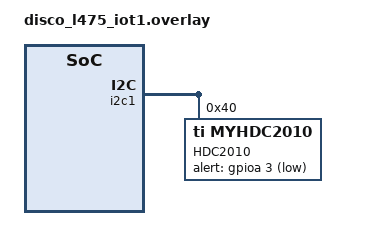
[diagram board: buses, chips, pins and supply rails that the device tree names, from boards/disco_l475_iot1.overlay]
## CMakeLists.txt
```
# SPDX-License-Identifier: Apache-2.0

cmake_minimum_required(VERSION 3.20.0)
find_package(Zephyr REQUIRED HINTS $ENV{ZEPHYR_BASE})
project(HDC2010)

FILE(GLOB app_sources src/*.c)
target_sources(app PRIVATE ${app_sources})
target_include_directories(app PRIVATE ${CMAKE_CURRENT_SOURCE_DIR}/include)
```

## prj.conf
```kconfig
# Logging and Console
CONFIG_LOG=y
CONFIG_PRINTK=y
CONFIG_UART_CONSOLE=y
CONFIG_SERIAL=y
CONFIG_CONSOLE=y
CONFIG_STDOUT_CONSOLE=y

# Enable I2C and Sensor Support
CONFIG_I2C=y
CONFIG_GPIO=y
CONFIG_SENSOR=y
CONFIG_HDC2010=y
CONFIG_HDC2010_TRIGGER=y
CONFIG_SENSOR_INIT_PRIORITY=91

# Shell Support (for I2C shell commands)
CONFIG_SHELL=y
CONFIG_I2C_SHELL=y
CONFIG_SHELL_BACKEND_SERIAL=y

# Floating point formatting
CONFIG_CBPRINTF_FP_SUPPORT=y

# Heap memory 
CONFIG_HEAP_MEM_POOL_SIZE=1024
CONFIG_PICOLIBC=y
```

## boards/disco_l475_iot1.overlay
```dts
&i2c1 {
    status = "okay";

    hdc2010@40 {
        compatible = "ti,myhdc2010";
        status = "okay";
        alert-gpios = <&gpioa 3 (GPIO_PULL_UP | GPIO_ACTIVE_LOW)>;
        reg = <0x40>;
        label = "HDC2010";
    };
};
```

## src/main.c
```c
#include <zephyr/kernel.h>
#include <zephyr/logging/log.h>
#include <stdlib.h>       // for k_malloc, k_free
#include <string.h>
#include "main.h"

LOG_MODULE_REGISTER(hdc2010_sample, LOG_LEVEL_DBG);

#define THREAD_STACK_SIZE           2048U
#define DATA_PRINT_THREAD_PRIORITY  4
#define DATA_FETCH_THREAD_PRIORITY  5

// Get device node for HDC2010 sensor (compatible "ti,hdc2010")
#define HDC2010_NODE    DT_COMPAT_GET_ANY_STATUS_OKAY(ti_myhdc2010)
const struct device *dev = DEVICE_DT_GET(HDC2010_NODE);

// FIFO for sensor readings (queue holds pointers to dynamically allocated readings)
K_FIFO_DEFINE(my_fifo);

/* Workqueue related declarations */
K_THREAD_STACK_DEFINE(my_stack_area, THREAD_STACK_SIZE);
static struct k_work_q my_workq;
static struct k_work my_work;

/**
 * @brief Initialize HDC2010 device, check if ready
 * 
 * @param dev Pointer to device struct
 * 
 * @return 0 if success, error code otherwise
 */
int init_main_hdc2010(const struct device *dev)
{
    if (!device_is_ready(dev)) {
        LOG_ERR("HDC2010 device not ready");
        return -ENODEV;
    }
    return 0;
}

/**
 * @brief Fetch sensor data and put reading into FIFO
 * 
 * @param dev Device pointer
 * 
 * @param reading Pointer to allocated reading struct to store results
 */
void get_sensor_value(const struct device *dev, struct hdc2010_reading *reading)
{
    int ret;

    ret = sensor_sample_fetch(dev);
    if (ret < 0) {
        LOG_ERR("Failed to fetch sample from HDC2010");
        return;
    }

    ret = sensor_channel_get(dev, SENSOR_CHAN_AMBIENT_TEMP, &reading->temperature);
    if (ret < 0) {
        LOG_ERR("Failed to get temperature from HDC2010");
        return;
    }

    ret = sensor_channel_get(dev, SENSOR_CHAN_HUMIDITY, &reading->humidity);
    if (ret < 0) {
        LOG_ERR("Failed to get humidity from HDC2010");
        return;
    }
}

/**
 * @brief Work handler function to be scheduled on workqueue.
 *        Reads sensor data and puts it into FIFO for processing.
 * 
 * @param work Pointer to k_work struct (unused here)
 */
void hdc2010_data_acquired(struct k_work *work)
{
    // Allocate memory for reading
    struct hdc2010_reading *reading = k_malloc(sizeof(*reading));
    if (reading == NULL) {
        LOG_ERR("Failed to allocate memory for sensor reading");
        return;
    }

    // Get sensor data into allocated struct
    get_sensor_value(dev, reading);

    // Put pointer into FIFO for processing in print thread
    k_fifo_put(&my_fifo, reading);
}

/**
 * @brief Thread function to continuously read from FIFO and print sensor data.
 * @param p1, p2, p3 Unused parameters for thread signature
 */
void hdc2010_data_print(void *p1, void *p2, void *p3)
{
    ARG_UNUSED(p1);
    ARG_UNUSED(p2);
    ARG_UNUSED(p3);

    while (1) {
        // Get pointer to next sensor reading from FIFO (wait forever)
        struct hdc2010_reading *reading = k_fifo_get(&my_fifo, K_FOREVER);

        if (reading != NULL) {
            LOG_INF("Temperature: %d.%02d C\tHumidity: %d.%02d %%RH",
                    reading->temperature.val1,
                    reading->temperature.val2,
                    reading->humidity.val1,
                    reading->humidity.val2);

            // Free allocated memory after processing
            k_free(reading);
        }

        k_sleep(K_MSEC(10));
    }
}

/**
 * @brief Configure HDC2010 sensor attributes such as reset, frequency, resolution, etc.
 * @param dev Device pointer
 * @return 0 if success, error code otherwise
 */
int configure_hdc2010(const struct device *dev)
{
    int ret;
    struct sensor_value val;

    // Soft reset
    val.val1 = HDC2010_CONFIG_SOFT_RESET;
    val.val2 = 0;
    ret = sensor_attr_set(dev, SENSOR_CHAN_AMBIENT_TEMP, SENSOR_ATTR_HDC2010_SOFT_RESET, &val);
    if (ret != 0) {
        LOG_ERR("Failed to set soft reset attribute");
        return ret;
    }

    /* Set interrupt comparator mode */
    memset(&val, 0, sizeof(val));
    val.val1 = HDC2010_CONFIG_INT_MODE;
    val.val2 = 0;
    ret = sensor_attr_set(dev, SENSOR_CHAN_AMBIENT_TEMP, SENSOR_ATTR_HDC2010_ALERT_MODE, &val);
    if (ret != 0) {
        LOG_ERR("Failed to enable data ready interrupt");
        return ret;
    }
    
    // Sampling frequency (e.g. 1 Hz)
    memset(&val, 0, sizeof(val));
    val.val1 = HDC2010_AMM_1HZ;
    val.val2 = 0;
    ret = sensor_attr_set(dev, SENSOR_CHAN_AMBIENT_TEMP, SENSOR_ATTR_SAMPLING_FREQUENCY, &val);
    if (ret != 0) {
        LOG_ERR("Failed to set sampling frequency");
        return ret;
    }

    // Enable Sensor DRDY Interrupt
    memset(&val, 0, sizeof(val));
    val.val1 = HDC2010_CONFIG_DRDY_INT_EN;
    val.val2 = 0;
    ret = sensor_attr_set(dev, SENSOR_CHAN_AMBIENT_TEMP, SENSOR_ATTR_HDC2010_INT_EN, &val);
    if (ret != 0) {
        LOG_ERR("Failed to set sampling frequency");
        return ret;
    }

    // Data ready interrupt enable
    memset(&val, 0, sizeof(val));
    val.val1 = HDC2010_DRDY_ENABLE;
    val.val2 = 0;
    ret = sensor_attr_set(dev, SENSOR_CHAN_AMBIENT_TEMP, SENSOR_ATTR_ALERT, &val);
    if (ret != 0) {
        LOG_ERR("Failed to enable data ready interrupt");
        return ret;
    }

    // Resolution (temp + humidity 14-bit)
    memset(&val, 0, sizeof(val));
    val.val1 = (HDC2010_TEMP_RES_14BIT | HDC2010_HUMI_RES_14BIT);
    val.val2 = 0;
    ret = sensor_attr_set(dev, SENSOR_CHAN_AMBIENT_TEMP, SENSOR_ATTR_RESOLUTION, &val);
    if (ret != 0) {
        LOG_ERR("Failed to set resolution");
        return ret;
    }

    // Measurement mode (humidity + temperature)
    memset(&val, 0, sizeof(val));
    val.val1 = HDC2010_MEAS_MODE_HUMI_TEMP;
    val.val2 = 0;
    ret = sensor_attr_set(dev, SENSOR_CHAN_AMBIENT_TEMP, SENSOR_ATTR_HDC2010_MEAS_MODE, &val);
    if (ret != 0) {
        LOG_ERR("Failed to set measurement mode");
        return ret;
    }

    
    // Measurement mode (humidity + temperature)
    memset(&val, 0, sizeof(val));
    val.val1 = HDC2010_MEAS_TRIG;
    val.val2 = 0;
    ret = sensor_attr_set(dev, SENSOR_CHAN_AMBIENT_TEMP, SENSOR_ATTR_HDC2010_START_MEAS, &val);
    if (ret != 0) {
        LOG_ERR("Failed to start measurement");
        return ret;
    }

    return 0;
}

/**
 * @brief Interrupt handler triggered by sensor data ready event.
 *        Submits work to the custom workqueue.
 * @param dev Sensor device pointer (unused)
 * @param trig Trigger information (unused)
 */
void hdc2010_trigger_handler(const struct device *dev, const struct sensor_trigger *trig)
{
    LOG_DBG("HDC2010 data ready interrupt received");

    // Submit work to custom work queue (NOT default system workqueue)
    k_work_submit_to_queue(&my_workq, &my_work);
}

/**
 * @brief Main application entry point
 */
int main(void)
{
    int ret;

    LOG_INF("Starting HDC2010 sensor data acquisition using interrupt");

    // const struct device *dev = DEVICE_DT_GET(HDC2010_NODE);

    ret = init_main_hdc2010(dev);
    if (ret != 0) {
        return ret;
    }

    // Initialize work struct with handler
    k_work_init(&my_work, hdc2010_data_acquired);

    // Initialize and start custom work queue with dedicated stack and priority
    k_work_queue_init(&my_workq);
    k_work_queue_start(&my_workq, my_stack_area,
                       K_THREAD_STACK_SIZEOF(my_stack_area),
                       DATA_FETCH_THREAD_PRIORITY, NULL);

    // Configure the sensor with required settings
    ret = configure_hdc2010(dev);
    if (ret != 0) {
        LOG_ERR("Sensor configuration failed");
        return ret;
    }

    // Set up data ready trigger (interrupt)
    struct sensor_trigger trig = {
        .type = SENSOR_TRIG_DATA_READY,
        .chan = SENSOR_CHAN_AMBIENT_TEMP,
    };

    ret = sensor_trigger_set(dev, &trig, hdc2010_trigger_handler);
    if (ret < 0) {
        LOG_ERR("Failed to set sensor trigger");
        return ret;
    }

    LOG_INF("Initialization complete, starting data print thread");

    // Start a dedicated thread for printing data from FIFO
    // This thread is defined below with K_THREAD_DEFINE macro

    // Keep main thread alive indefinitely
    while (1) {
        k_sleep(K_FOREVER));
    }

    return 0;
}

// Thread definition for data print thread
K_THREAD_DEFINE(sensor_data_print, THREAD_STACK_SIZE, hdc2010_data_print,
                NULL, NULL, NULL, DATA_PRINT_THREAD_PRIORITY, 0, 0);
```

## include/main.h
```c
#ifndef __MAIN_H__
#define __MAIN_H__

#include <zephyr/device.h>
#include <zephyr/drivers/sensor.h>
#include <zephyr/drivers/sensor/hdc2010.h>

#ifdef __cplusplus
extern "C" {
#endif

/* Struct for storing sensor readings */
struct hdc2010_reading {
    void *fifo_reserved;  /* Required by k_fifo */
    struct sensor_value temperature;
    struct sensor_value humidity;
};

/* Function prototypes */
int init_main_hdc2010(const struct device *dev);
void get_sensor_value(const struct device *dev, struct hdc2010_reading *reading);
// int configure_hdc2010(const struct device *dev);
void hdc2010_data_acquired(struct k_work *work);
void hdc2010_data_print(void *p1, void *p2, void *p3);
// void hdc2010_trigger_handler(const struct device *dev, const struct sensor_trigger *trig);

#ifdef __cplusplus
}
#endif

#endif /* __MAIN_H__ */
```
